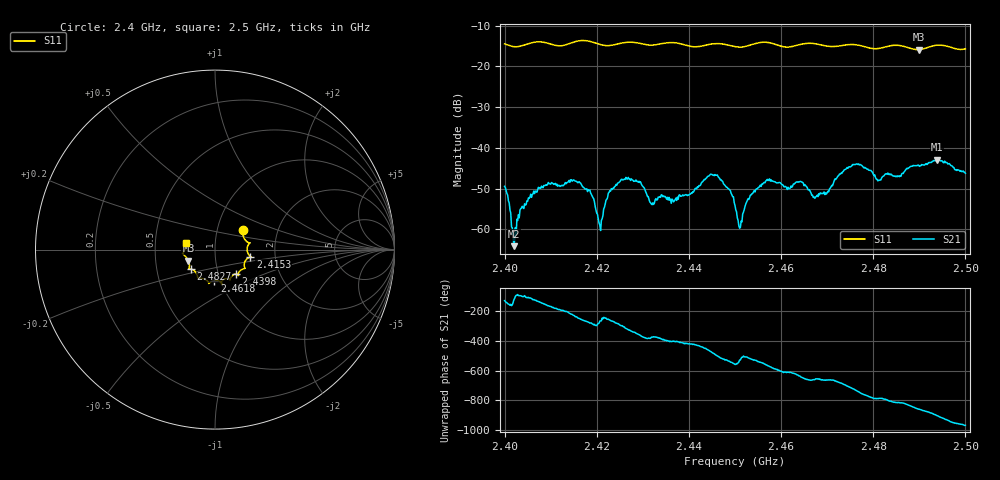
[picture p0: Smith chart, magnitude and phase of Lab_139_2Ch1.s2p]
# Hz S RI R 50
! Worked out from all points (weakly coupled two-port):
!   601 points, 2.4 GHz to 2.5 GHz, reference 50 ohm
!   highest |S21| = -42.90 dB at 2.4938 GHz (marker M1); lowest = -64.1 dB at 2.402 GHz (marker M2)
!   lowest |S11| = -15.9 dB at 2.4898 GHz (marker M3), VSWR 1.38, Z = 36.8 - j4.64 ohm
!   |S11| at or under -10 dB: start of sweep to end of sweep
!   S12 and S22 are empty: the file has one direction only
!   S11 on the Smith chart (normalised r, x): 2.4 GHz: 1.33, +0.29; 2.4153 GHz: 1.49, -0.12; 2.4398 GHz: 1.21, -0.34; 2.4618 GHz: 0.94, -0.33; 2.4827 GHz: 0.75, -0.17; 2.5 GHz: 0.72, +0.06
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2.4e9  0.1554 0.1067  -0.00229 -0.00246  0 0  0 0
2.402e9  0.1578 0.0742  -0.000381 -0.00049  0 0  0 0
2.406833e9  0.1953 0.0376  -0.00189 -0.00222  0 0  0 0
2.415333e9  0.1971 -0.0392  -0.00196 0.00338  0 0  0 0
2.416667e9  0.2027 -0.0434  -0.000752 0.00346  0 0  0 0
2.420833e9  0.1771 -0.0522  -3.41e-05 0.000966  0 0  0 0
2.422667e9  0.1642 -0.0725  -0.000511 0.00279  0 0  0 0
2.425833e9  0.1664 -0.1014  0.00253 0.0032  0 0  0 0
2.433333e9  0.1297 -0.1337  0.00234 -0.000828  0 0  0 0
2.439833e9  0.1154 -0.1357  0.00128 -0.0023  0 0  0 0
2.445667e9  0.0839 -0.1704  -0.00317 -0.00345  0 0  0 0
2.45e9  0.0653 -0.1619  -0.00185 0.000625  0 0  0 0
2.451e9  0.0542 -0.1632  -0.00101 -0.00018  0 0  0 0
2.4565e9  0.0392 -0.1938  -0.00355 0.00111  0 0  0 0
2.461833e9  -0.00315 -0.1729  -0.000936 0.00301  0 0  0 0
2.466667e9  -0.0347 -0.1883  0.00145 0.00218  0 0  0 0
2.476e9  -0.0954 -0.1579  0.00616 -0.000811  0 0  0 0
2.482667e9  -0.1349 -0.1087  0.00155 -0.00454  0 0  0 0
2.483333e9  -0.1401 -0.1083  0.000758 -0.00465  0 0  0 0
2.489833e9  -0.1482 -0.0614  -0.00456 -0.0041  0 0  0 0
2.493833e9  -0.1804 -0.0231  -0.00716 0.000117  0 0  0 0
2.5e9  -0.1593 0.0388  -0.00192 0.00448  0 0  0 0
